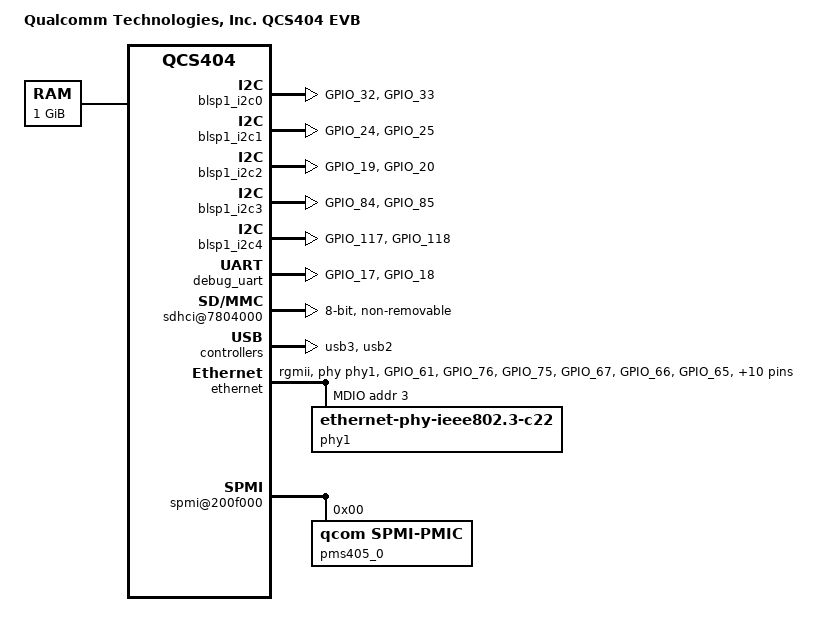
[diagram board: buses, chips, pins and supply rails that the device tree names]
// SPDX-License-Identifier: GPL-2.0+
/*
 * Qualcomm QCS404 based evaluation board device tree source
 *
 * (C) Copyright 2022 Sumit Garg <sumit.garg@linaro.org>
 */

/dts-v1/;

#include "skeleton64.dtsi"
#include <dt-bindings/gpio/gpio.h>
#include <dt-bindings/clock/qcom,gcc-qcs404.h>

/ {
	model = "Qualcomm Technologies, Inc. QCS404 EVB";
	compatible = "qcom,qcs404-evb", "qcom,qcs404";
	#address-cells = <0x2>;
	#size-cells = <0x2>;

	chosen {
		stdout-path = "serial0:115200n8";
	};

	aliases {
		serial0 = &debug_uart;
		i2c0 = &blsp1_i2c0;
		i2c1 = &blsp1_i2c1;
		i2c2 = &blsp1_i2c2;
		i2c3 = &blsp1_i2c3;
		i2c4 = &blsp1_i2c4;
	};

	memory {
		device_type = "memory";
		reg = <0 0x80000000 0 0x40000000>;
	};

	soc {
		#address-cells = <0x1>;
		#size-cells = <0x1>;
		ranges = <0x0 0x0 0x0 0xffffffff>;
		compatible = "simple-bus";

		soc_gpios: pinctrl_north@1300000 {
			compatible = "qcom,qcs404-pinctrl";
			reg = <0x1300000 0x200000>;
			gpio-controller;
			gpio-count = <120>;
			gpio-bank-name="soc";
			#gpio-cells = <2>;

			blsp1_uart2: uart {
				pins = "GPIO_17", "GPIO_18";
				function = "blsp_uart2";
			};

			blsp1_i2c0_default: blsp1-i2c0-default {
				pins = "GPIO_32", "GPIO_33";
				function = "blsp_i2c0";
			};

			blsp1_i2c1_default: blsp1-i2c1-default {
				pins = "GPIO_24", "GPIO_25";
				function = "blsp_i2c1";
			};

			blsp1_i2c2_default: blsp1-i2c2-default {
				sda {
					pins = "GPIO_19";
					function = "blsp_i2c_sda_a2";
				};

				scl {
					pins = "GPIO_20";
					function = "blsp_i2c_scl_a2";
				};
			};

			blsp1_i2c3_default: blsp1-i2c3-default {
				pins = "GPIO_84", "GPIO_85";
				function = "blsp_i2c3";
			};

			blsp1_i2c4_default: blsp1-i2c4-default {
				pins = "GPIO_117", "GPIO_118";
				function = "blsp_i2c4";
			};

			ethernet_defaults: ethernet-defaults {
				int {
					pins = "GPIO_61";
					function = "rgmii_int";
					bias-disable;
					drive-strength = <2>;
				};
				mdc {
					pins = "GPIO_76";
					function = "rgmii_mdc";
					bias-pull-up;
				};
				mdio {
					pins = "GPIO_75";
					function = "rgmii_mdio";
					bias-pull-up;
				};
				tx {
					pins = "GPIO_67", "GPIO_66", "GPIO_65", "GPIO_64";
					function = "rgmii_tx";
					bias-pull-up;
					drive-strength = <16>;
				};
				rx {
					pins = "GPIO_73", "GPIO_72", "GPIO_71", "GPIO_70";
					function = "rgmii_rx";
					bias-disable;
					drive-strength = <2>;
				};
				tx-ctl {
					pins = "GPIO_68";
					function = "rgmii_ctl";
					bias-pull-up;
					drive-strength = <16>;
				};
				rx-ctl {
					pins = "GPIO_74";
					function = "rgmii_ctl";
					bias-disable;
					drive-strength = <2>;
				};
				tx-ck {
					pins = "GPIO_63";
					function = "rgmii_ck";
					bias-pull-up;
					drive-strength = <16>;
				};
				rx-ck {
					pins = "GPIO_69";
					function = "rgmii_ck";
					bias-disable;
					drive-strength = <2>;
				};
			};
		};

		blsp1_i2c0: i2c@78b5000 {
			compatible = "qcom,i2c-qup-v2.2.1";
			reg = <0x078b5000 0x600>;
			clocks = <&gcc GCC_BLSP1_AHB_CLK>,
				 <&gcc GCC_BLSP1_QUP0_I2C_APPS_CLK>;
			clock-names = "iface", "core";
			pinctrl-names = "default";
			pinctrl-0 = <&blsp1_i2c0_default>;
			#address-cells = <1>;
			#size-cells = <0>;
		};

		blsp1_i2c1: i2c@78b6000 {
			compatible = "qcom,i2c-qup-v2.2.1";
			reg = <0x078b6000 0x600>;
			clocks = <&gcc GCC_BLSP1_AHB_CLK>,
				 <&gcc GCC_BLSP1_QUP1_I2C_APPS_CLK>;
			clock-names = "iface", "core";
			pinctrl-names = "default";
			pinctrl-0 = <&blsp1_i2c1_default>;
			#address-cells = <1>;
			#size-cells = <0>;
		};

		blsp1_i2c2: i2c@78b7000 {
			compatible = "qcom,i2c-qup-v2.2.1";
			reg = <0x078b7000 0x600>;
			clocks = <&gcc GCC_BLSP1_AHB_CLK>,
				 <&gcc GCC_BLSP1_QUP2_I2C_APPS_CLK>;
			clock-names = "iface", "core";
			pinctrl-names = "default";
			pinctrl-0 = <&blsp1_i2c2_default>;
			#address-cells = <1>;
			#size-cells = <0>;
		};

		blsp1_i2c3: i2c@78b8000 {
			compatible = "qcom,i2c-qup-v2.2.1";
			reg = <0x078b8000 0x600>;
			clocks = <&gcc GCC_BLSP1_AHB_CLK>,
				 <&gcc GCC_BLSP1_QUP3_I2C_APPS_CLK>;
			clock-names = "iface", "core";
			pinctrl-names = "default";
			pinctrl-0 = <&blsp1_i2c3_default>;
			#address-cells = <1>;
			#size-cells = <0>;
		};

		blsp1_i2c4: i2c@78b9000 {
			compatible = "qcom,i2c-qup-v2.2.1";
			reg = <0x078b9000 0x600>;
			clocks = <&gcc GCC_BLSP1_AHB_CLK>,
				 <&gcc GCC_BLSP1_QUP4_I2C_APPS_CLK>;
			clock-names = "iface", "core";
			pinctrl-names = "default";
			pinctrl-0 = <&blsp1_i2c4_default>;
			#address-cells = <1>;
			#size-cells = <0>;
		};

		gcc: clock-controller@1800000 {
			compatible = "qcom,gcc-qcs404";
			reg = <0x1800000 0x80000>;
			#address-cells = <0x1>;
			#size-cells = <0x0>;
			#clock-cells = <1>;
			#reset-cells = <1>;
		};

		debug_uart: serial@78b1000 {
			compatible = "qcom,msm-uartdm-v1.4";
			reg = <0x78b1000 0x200>;
			clock = <&gcc GCC_BLSP1_UART2_APPS_CLK>,
				<&gcc GCC_BLSP1_AHB_CLK>;
			bit-rate = <0xFF>;
			pinctrl-names = "uart";
			pinctrl-0 = <&blsp1_uart2>;
		};

		sdhci@7804000 {
			compatible = "qcom,sdhci-msm-v5";
			reg = <0x7804000 0x1000 0x7805000 0x1000>;
			clock = <&gcc GCC_SDCC1_APPS_CLK>,
				<&gcc GCC_SDCC1_AHB_CLK>;
			bus-width = <0x8>;
			index = <0x0>;
			non-removable;
			mmc-ddr-1_8v;
			mmc-hs400-1_8v;
		};

		usb3_phy: phy@78000 {
			compatible = "qcom,usb-ss-28nm-phy";
			#phy-cells = <0>;
			reg = <0x78000 0x400>;
			clocks = <&gcc GCC_USB_HS_PHY_CFG_AHB_CLK>,
				 <&gcc GCC_USB3_PHY_PIPE_CLK>;
			clock-names = "ahb", "pipe";
			resets = <&gcc GCC_USB3_PHY_BCR>,
				 <&gcc GCC_USB3PHY_PHY_BCR>;
			reset-names = "com", "phy";
		};

		usb2_phy_prim: phy@7a000 {
			compatible = "qcom,usb-hs-28nm-femtophy";
			#phy-cells = <0>;
			reg = <0x7a000 0x200>;
			clocks = <&gcc GCC_USB_HS_PHY_CFG_AHB_CLK>,
				 <&gcc GCC_USB2A_PHY_SLEEP_CLK>;
			clock-names = "ahb", "sleep";
			resets = <&gcc GCC_USB_HS_PHY_CFG_AHB_BCR>,
				 <&gcc GCC_USB2A_PHY_BCR>;
			reset-names = "phy", "por";
		};

		usb2_phy_sec: phy@7c000 {
			compatible = "qcom,usb-hs-28nm-femtophy";
			#phy-cells = <0>;
			reg = <0x7c000 0x200>;
			clocks = <&gcc GCC_USB_HS_PHY_CFG_AHB_CLK>,
				 <&gcc GCC_USB2A_PHY_SLEEP_CLK>;
			clock-names = "ahb", "sleep";
			resets = <&gcc GCC_QUSB2_PHY_BCR>,
				 <&gcc GCC_USB2_HS_PHY_ONLY_BCR>;
			reset-names = "phy", "por";
		};

		usb3: usb@7678800 {
			compatible = "qcom,dwc3";
			reg = <0x7678800 0x400>;
			#address-cells = <1>;
			#size-cells = <1>;
			ranges;
			clocks = <&gcc GCC_USB30_MASTER_CLK>,
				 <&gcc GCC_SYS_NOC_USB3_CLK>,
				 <&gcc GCC_USB30_SLEEP_CLK>,
				 <&gcc GCC_USB30_MOCK_UTMI_CLK>;
			clock-names = "core", "iface", "sleep", "mock_utmi";

			dwc3@7580000 {
				compatible = "snps,dwc3";
				reg = <0x7580000 0xcd00>;
				phys = <&usb2_phy_prim>, <&usb3_phy>;
				phy-names = "usb2-phy", "usb3-phy";
				dr_mode = "host";
				snps,has-lpm-erratum;
				snps,hird-threshold = /bits/ 8 <0x10>;
				snps,usb3_lpm_capable;
				maximum-speed = "super-speed";
			};
		};

		usb2: usb@79b8800 {
			compatible = "qcom,dwc3";
			reg = <0x79b8800 0x400>;
			#address-cells = <1>;
			#size-cells = <1>;
			ranges;
			clocks = <&gcc GCC_USB_HS_SYSTEM_CLK>,
				 <&gcc GCC_PCNOC_USB2_CLK>,
				 <&gcc GCC_USB_HS_INACTIVITY_TIMERS_CLK>,
				 <&gcc GCC_USB20_MOCK_UTMI_CLK>;
			clock-names = "core", "iface", "sleep", "mock_utmi";

			dwc3@78c0000 {
				compatible = "snps,dwc3";
				reg = <0x78c0000 0xcc00>;
				phys = <&usb2_phy_sec>;
				phy-names = "usb2-phy";
				dr_mode = "peripheral";
				snps,has-lpm-erratum;
				snps,hird-threshold = /bits/ 8 <0x10>;
				snps,usb3_lpm_capable;
				maximum-speed = "high-speed";
			};
		};

		ethernet: ethernet@7a80000 {
			compatible = "qcom,qcs404-ethqos";
			reg = <0x07a80000 0x10000>,
				<0x07a96000 0x100>;
			reg-names = "stmmaceth", "rgmii";
			clock-names = "stmmaceth", "pclk", "ptp_ref", "rgmii";
			clocks = <&gcc GCC_ETH_AXI_CLK>,
				 <&gcc GCC_ETH_SLAVE_AHB_CLK>,
				 <&gcc GCC_ETH_PTP_CLK>,
				 <&gcc GCC_ETH_RGMII_CLK>;

			resets = <&gcc GCC_EMAC_BCR>;
			reset-names = "emac";

			snps,tso;
			rx-fifo-depth = <4096>;
			tx-fifo-depth = <4096>;

			snps,reset-gpio = <&soc_gpios 60 GPIO_ACTIVE_LOW>;
			snps,reset-active-low;
			snps,reset-delays-us = <0 10000 10000>;

			pinctrl-names = "default";
			pinctrl-0 = <&ethernet_defaults>;

			phy-handle = <&phy1>;
			phy-mode = "rgmii";
			max-speed = <1000>;

			mdio {
				#address-cells = <0x1>;
				#size-cells = <0x0>;
				compatible = "snps,dwmac-mdio";
				phy1: phy@3 {
					compatible = "ethernet-phy-ieee802.3-c22";
					device_type = "ethernet-phy";
					reg = <0x3>;
				};
			};
		};

		spmi@200f000 {
			compatible = "qcom,spmi-pmic-arb";
			reg = <0x200f000 0x001000>,
			      <0x2400000 0x800000>,
			      <0x2c00000 0x800000>;
			reg-names = "core", "chnls", "obsrvr";
			#address-cells = <0x1>;
			#size-cells = <0x1>;

			pms405_0: pms405@0 {
				compatible = "qcom,spmi-pmic";
				reg = <0x0 0x1>;
				#address-cells = <0x1>;
				#size-cells = <0x1>;

				pms405_gpios: pms405_gpios@c000 {
					compatible = "qcom,pms405-gpio";
					reg = <0xc000 0x400>;
					gpio-controller;
					gpio-ranges = <&pms405_gpios 0 0 12>;
					#gpio-cells = <2>;
				};
			};
		};
	};
};

#include "qcs404-evb-uboot.dtsi"
